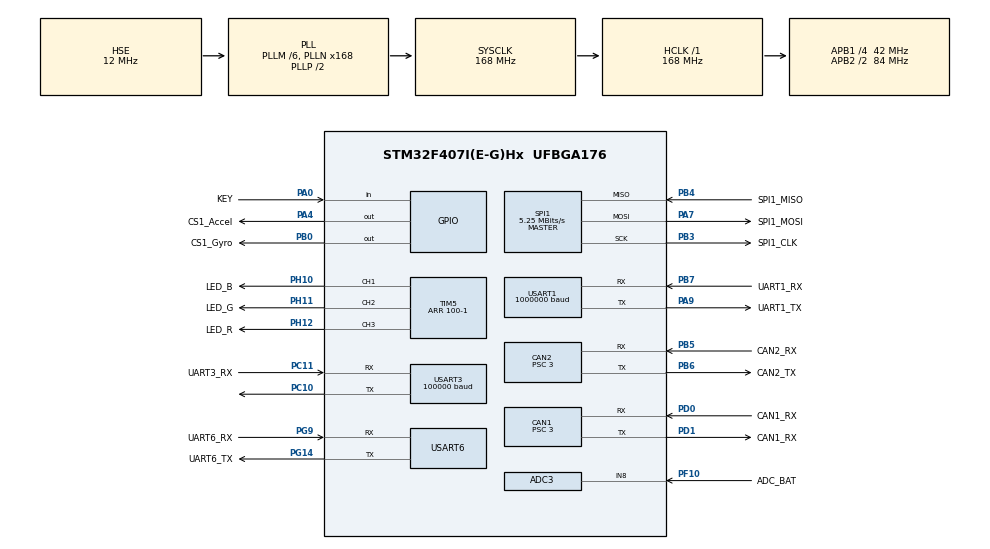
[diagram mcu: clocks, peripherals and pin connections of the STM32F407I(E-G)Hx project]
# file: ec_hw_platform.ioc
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ADC3.Channel-1\#ChannelRegularConversion=ADC_CHANNEL_8
ADC3.ExternalTrigConv=ADC_EXTERNALTRIGCONV_T3_TRGO
ADC3.NbrOfConversionFlag=1
ADC3.Rank-1\#ChannelRegularConversion=1
ADC3.SamplingTime-1\#ChannelRegularConversion=ADC_SAMPLETIME_28CYCLES
CAN1.ABOM=ENABLE
CAN1.BS1=CAN_BS1_10TQ
CAN1.BS2=CAN_BS2_3TQ
CAN1.CalculateBaudRate=1000000
CAN1.CalculateTimeBit=1000
CAN1.CalculateTimeQuantum=71.42857142857143
CAN1.Prescaler=3
CAN2.ABOM=ENABLE
CAN2.BS1=CAN_BS1_10TQ
CAN2.BS2=CAN_BS2_3TQ
CAN2.CalculateBaudRate=1000000
CAN2.CalculateTimeBit=1000
CAN2.CalculateTimeQuantum=71.42857142857143
CAN2.Prescaler=3
Dma.Request0=SPI1_RX
Dma.Request1=SPI1_TX
Dma.Request2=USART1_RX
Dma.Request3=USART1_TX
Dma.Request4=USART6_RX
Dma.Request5=USART6_TX
Dma.SPI1_RX.0.Direction=DMA_PERIPH_TO_MEMORY
Dma.SPI1_RX.0.FIFOMode=DMA_FIFOMODE_DISABLE
Dma.SPI1_RX.0.Instance=DMA2_Stream0
Dma.SPI1_RX.0.MemDataAlignment=DMA_MDATAALIGN_BYTE
Dma.SPI1_RX.0.MemInc=DMA_MINC_ENABLE
Dma.SPI1_RX.0.Mode=DMA_NORMAL
Dma.SPI1_RX.0.PeriphDataAlignment=DMA_PDATAALIGN_BYTE
Dma.SPI1_RX.0.PeriphInc=DMA_PINC_DISABLE
Dma.SPI1_RX.0.Priority=DMA_PRIORITY_LOW
Dma.SPI1_TX.1.Direction=DMA_MEMORY_TO_PERIPH
Dma.SPI1_TX.1.FIFOMode=DMA_FIFOMODE_DISABLE
Dma.SPI1_TX.1.Instance=DMA2_Stream3
Dma.SPI1_TX.1.MemDataAlignment=DMA_MDATAALIGN_BYTE
Dma.SPI1_TX.1.MemInc=DMA_MINC_ENABLE
Dma.SPI1_TX.1.Mode=DMA_NORMAL
Dma.SPI1_TX.1.PeriphDataAlignment=DMA_PDATAALIGN_BYTE
Dma.SPI1_TX.1.PeriphInc=DMA_PINC_DISABLE
Dma.SPI1_TX.1.Priority=DMA_PRIORITY_LOW
Dma.USART1_RX.2.Direction=DMA_PERIPH_TO_MEMORY
Dma.USART1_RX.2.FIFOMode=DMA_FIFOMODE_DISABLE
Dma.USART1_RX.2.Instance=DMA2_Stream2
Dma.USART1_RX.2.MemDataAlignment=DMA_MDATAALIGN_BYTE
Dma.USART1_RX.2.MemInc=DMA_MINC_ENABLE
Dma.USART1_RX.2.Mode=DMA_NORMAL
Dma.USART1_RX.2.PeriphDataAlignment=DMA_PDATAALIGN_BYTE
Dma.USART1_RX.2.PeriphInc=DMA_PINC_DISABLE
Dma.USART1_RX.2.Priority=DMA_PRIORITY_LOW
Dma.USART1_TX.3.Direction=DMA_MEMORY_TO_PERIPH
Dma.USART1_TX.3.FIFOMode=DMA_FIFOMODE_DISABLE
Dma.USART1_TX.3.Instance=DMA2_Stream7
Dma.USART1_TX.3.MemDataAlignment=DMA_MDATAALIGN_BYTE
Dma.USART1_TX.3.MemInc=DMA_MINC_ENABLE
Dma.USART1_TX.3.Mode=DMA_NORMAL
Dma.USART1_TX.3.PeriphDataAlignment=DMA_PDATAALIGN_BYTE
Dma.USART1_TX.3.PeriphInc=DMA_PINC_DISABLE
Dma.USART1_TX.3.Priority=DMA_PRIORITY_LOW
Dma.USART6_RX.4.Direction=DMA_PERIPH_TO_MEMORY
Dma.USART6_RX.4.FIFOMode=DMA_FIFOMODE_DISABLE
Dma.USART6_RX.4.Instance=DMA2_Stream1
Dma.USART6_RX.4.MemDataAlignment=DMA_MDATAALIGN_BYTE
Dma.USART6_RX.4.MemInc=DMA_MINC_ENABLE
Dma.USART6_RX.4.Mode=DMA_NORMAL
Dma.USART6_RX.4.PeriphDataAlignment=DMA_PDATAALIGN_BYTE
Dma.USART6_RX.4.PeriphInc=DMA_PINC_DISABLE
Dma.USART6_RX.4.Priority=DMA_PRIORITY_LOW
Dma.USART6_TX.5.Direction=DMA_MEMORY_TO_PERIPH
Dma.USART6_TX.5.FIFOMode=DMA_FIFOMODE_DISABLE
Dma.USART6_TX.5.Instance=DMA2_Stream6
Dma.USART6_TX.5.MemDataAlignment=DMA_MDATAALIGN_BYTE
Dma.USART6_TX.5.MemInc=DMA_MINC_ENABLE
Dma.USART6_TX.5.Mode=DMA_NORMAL
Dma.USART6_TX.5.PeriphDataAlignment=DMA_PDATAALIGN_BYTE
Dma.USART6_TX.5.PeriphInc=DMA_PINC_DISABLE
Dma.USART6_TX.5.Priority=DMA_PRIORITY_LOW
IWDG.Prescaler=IWDG_PRESCALER_32
IWDG.Reload=1500
Mcu.Family=STM32F4
Mcu.Name=STM32F407I(E-G)Hx
Mcu.Package=UFBGA176
NVIC.ADC_IRQn=true\:0\:0\:false\:false\:true\:true\:true\:true
NVIC.CAN1_RX0_IRQn=true\:0\:0\:false\:false\:true\:true\:true\:true
NVIC.CAN2_RX0_IRQn=true\:0\:0\:false\:false\:true\:true\:true\:true
NVIC.DMA2_Stream0_IRQn=true\:0\:0\:false\:false\:true\:false\:true\:true
NVIC.DMA2_Stream1_IRQn=true\:0\:0\:false\:false\:true\:false\:true\:true
NVIC.DMA2_Stream2_IRQn=true\:0\:0\:false\:false\:true\:false\:true\:true
NVIC.DMA2_Stream3_IRQn=true\:0\:0\:false\:false\:true\:false\:true\:true
NVIC.DMA2_Stream6_IRQn=true\:0\:0\:false\:false\:true\:false\:true\:true
NVIC.DMA2_Stream7_IRQn=true\:0\:0\:false\:false\:true\:false\:true\:true
NVIC.PriorityGroup=NVIC_PRIORITYGROUP_4
NVIC.RCC_IRQn=true\:0\:0\:false\:false\:true\:true\:false\:true
NVIC.SPI1_IRQn=true\:0\:0\:false\:false\:true\:true\:true\:true
NVIC.TIM6_DAC_IRQn=true\:0\:0\:false\:false\:true\:true\:true\:true
NVIC.TIM7_IRQn=true\:0\:0\:false\:false\:true\:true\:true\:true
NVIC.USART1_IRQn=true\:0\:0\:false\:false\:true\:true\:true\:true
NVIC.USART3_IRQn=true\:0\:0\:false\:false\:true\:true\:true\:true
NVIC.USART6_IRQn=true\:0\:0\:false\:false\:true\:true\:true\:true
PA0-WKUP.GPIO_Label=KEY
PA0-WKUP.GPIO_PuPd=GPIO_PULLUP
PA0-WKUP.Signal=GPIO_Input
PA13.Mode=Serial_Wire
PA13.Signal=SYS_JTMS-SWDIO
PA14.Mode=Serial_Wire
PA14.Signal=SYS_JTCK-SWCLK
PA4.GPIO_Label=CS1_Accel
PA4.GPIO_PuPd=GPIO_PULLUP
PA4.Signal=GPIO_Output
PA7.GPIO_Label=SPI1_MOSI
PA7.GPIO_PuPd=GPIO_PULLUP
PA7.Mode=Full_Duplex_Master
PA7.Signal=SPI1_MOSI
PA9.GPIO_Label=UART1_TX
PA9.GPIO_PuPd=GPIO_PULLDOWN
PA9.Mode=Asynchronous
PA9.Signal=USART1_TX
PB0.GPIO_Label=CS1_Gyro
PB0.GPIO_PuPd=GPIO_PULLUP
PB0.Signal=GPIO_Output
PB3.GPIO_Label=SPI1_CLK
PB3.GPIO_PuPd=GPIO_PULLUP
PB3.Mode=Full_Duplex_Master
PB3.Signal=SPI1_SCK
PB4.GPIO_Label=SPI1_MISO
PB4.GPIO_PuPd=GPIO_PULLUP
PB4.Mode=Full_Duplex_Master
PB4.Signal=SPI1_MISO
PB5.GPIO_Label=CAN2_RX
PB5.GPIO_PuPd=GPIO_PULLDOWN
PB5.Mode=CAN_Activate
PB5.Signal=CAN2_RX
PB6.GPIO_Label=CAN2_TX
PB6.GPIO_PuPd=GPIO_PULLDOWN
PB6.Mode=CAN_Activate
PB6.Signal=CAN2_TX
PB7.GPIO_Label=UART1_RX
PB7.GPIO_PuPd=GPIO_PULLDOWN
PB7.Mode=Asynchronous
PB7.Signal=USART1_RX
PC10.Mode=Asynchronous
PC10.Signal=USART3_TX
PC11.GPIO_Label=UART3_RX
PC11.GPIO_PuPd=GPIO_PULLDOWN
PC11.Mode=Asynchronous
PC11.Signal=USART3_RX
PC14-OSC32_IN.Mode=LSE-External-Oscillator
PC14-OSC32_IN.Signal=RCC_OSC32_IN
PC15-OSC32_OUT.Mode=LSE-External-Oscillator
PC15-OSC32_OUT.Signal=RCC_OSC32_OUT
PC6.GPIO_Label=TIM8_CH1
PC6.GPIO_PuPd=GPIO_PULLDOWN
PC6.Signal=S_TIM8_CH1
PC8.GPIO_Label=TIM3_CH3
PC8.GPIO_PuPd=GPIO_PULLDOWN
PC8.Signal=S_TIM3_CH3
PD0.GPIO_Label=CAN1_RX
PD0.GPIO_PuPd=GPIO_PULLDOWN
PD0.Mode=CAN_Activate
PD0.Signal=CAN1_RX
PD1.GPIO_Label=CAN1_RX
PD1.GPIO_PuPd=GPIO_PULLDOWN
PD1.Mode=CAN_Activate
PD1.Signal=CAN1_TX
PD14.GPIO_Label=TIM4_CH3
PD14.GPIO_PuPd=GPIO_PULLDOWN
PD14.Signal=S_TIM4_CH3
PE11.GPIO_Label=TIM1_CH2
PE11.GPIO_PuPd=GPIO_PULLDOWN
PE11.Signal=S_TIM1_CH2
PE13.GPIO_Label=TIM1_CH3
PE13.GPIO_PuPd=GPIO_PULLDOWN
PE13.Signal=S_TIM1_CH3
PE14.GPIO_Label=TIM1_CH4
PE14.GPIO_PuPd=GPIO_PULLDOWN
PE14.Signal=S_TIM1_CH4
PE9.GPIO_Label=TIM1_CH1
PE9.GPIO_PuPd=GPIO_PULLDOWN
PE9.Signal=S_TIM1_CH1
PF10.GPIO_Label=ADC_BAT
PF10.GPIO_PuPd=GPIO_NOPULL
PF10.Mode=IN8
PF10.Signal=ADC3_IN8
PG14.GPIO_Label=UART6_TX
PG14.GPIO_PuPd=GPIO_PULLDOWN
PG14.Mode=Asynchronous
PG14.Signal=USART6_TX
PG9.GPIO_Label=UART6_RX
PG9.GPIO_PuPd=GPIO_PULLDOWN
PG9.Mode=Asynchronous
PG9.Signal=USART6_RX
PH0-OSC_IN.Mode=HSE-External-Oscillator
PH0-OSC_IN.Signal=RCC_OSC_IN
PH1-OSC_OUT.Mode=HSE-External-Oscillator
PH1-OSC_OUT.Signal=RCC_OSC_OUT
PH10.GPIO_Label=LED_B
PH10.GPIO_PuPd=GPIO_PULLUP
PH10.Signal=S_TIM5_CH1
PH11.GPIO_Label=LED_G
PH11.GPIO_PuPd=GPIO_PULLUP
PH11.Signal=S_TIM5_CH2
PH12.GPIO_Label=LED_R
PH12.GPIO_PuPd=GPIO_PULLUP
PH12.Signal=S_TIM5_CH3
PI6.GPIO_Label=TIM8_CH2
PI6.GPIO_PuPd=GPIO_PULLDOWN
PI6.Signal=S_TIM8_CH2
PI7.GPIO_Label=TIM8_CH3
PI7.GPIO_PuPd=GPIO_PULLDOWN
PI7.Signal=S_TIM8_CH3
ProjectManager.HeapSize=0x1000
ProjectManager.StackSize=0x2000
ProjectManager.TargetToolchain=STM32CubeIDE
RCC.48MHZClocksFreq_Value=48000000
RCC.AHBFreq_Value=168000000
RCC.APB1CLKDivider=RCC_HCLK_DIV4
RCC.APB1Freq_Value=42000000
RCC.APB1TimFreq_Value=84000000
RCC.APB2CLKDivider=RCC_HCLK_DIV2
RCC.APB2Freq_Value=84000000
RCC.APB2TimFreq_Value=168000000
RCC.CortexFreq_Value=168000000
RCC.HCLKFreq_Value=168000000
RCC.HSE_VALUE=12000000
RCC.HSI_VALUE=16000000
RCC.PLLM=6
RCC.PLLN=168
RCC.PLLQ=7
RCC.PLLSourceVirtual=RCC_PLLSOURCE_HSE
RCC.SYSCLKFreq_VALUE=168000000
RCC.SYSCLKSource=RCC_SYSCLKSOURCE_PLLCLK
RCC.VCOOutputFreq_Value=336000000
SH.S_TIM1_CH1.0=TIM1_CH1
SH.S_TIM1_CH2.0=TIM1_CH2
SH.S_TIM1_CH3.0=TIM1_CH3
SH.S_TIM1_CH4.0=TIM1_CH4
SH.S_TIM3_CH3.0=TIM3_CH3
SH.S_TIM4_CH3.0=TIM4_CH3
SH.S_TIM5_CH1.0=TIM5_CH1,PWM Generation1 CH1
SH.S_TIM5_CH2.0=TIM5_CH2,PWM Generation2 CH2
SH.S_TIM5_CH3.0=TIM5_CH3,PWM Generation3 CH3
SH.S_TIM8_CH1.0=TIM8_CH1
SH.S_TIM8_CH2.0=TIM8_CH2
SH.S_TIM8_CH3.0=TIM8_CH3
SPI1.BaudRatePrescaler=SPI_BAUDRATEPRESCALER_16
SPI1.CLKPhase=SPI_PHASE_2EDGE
SPI1.CLKPolarity=SPI_POLARITY_HIGH
SPI1.CalculateBaudRate=5.25 MBits/s
SPI1.Direction=SPI_DIRECTION_2LINES
SPI1.Mode=SPI_MODE_MASTER
SPI1.VirtualType=VM_MASTER
TIM3.TIM_MasterOutputTrigger=TIM_TRGO_UPDATE
TIM4.AutoReloadPreload=TIM_AUTORELOAD_PRELOAD_ENABLE
TIM4.Period=200-1
TIM4.Prescaler=84-1
TIM5.AutoReloadPreload=TIM_AUTORELOAD_PRELOAD_ENABLE
TIM5.Channel-PWM\ Generation1\ CH1=TIM_CHANNEL_1
TIM5.Channel-PWM\ Generation2\ CH2=TIM_CHANNEL_2
TIM5.Channel-PWM\ Generation3\ CH3=TIM_CHANNEL_3
TIM5.Period=100-1
TIM6.Period=1000-1
TIM6.Prescaler=84-1
TIM7.AutoReloadPreload=TIM_AUTORELOAD_PRELOAD_DISABLE
TIM7.Period=1000-1
TIM7.Prescaler=84-1
USART1.BaudRate=1000000
USART1.VirtualMode=VM_ASYNC
USART3.BaudRate=100000
USART3.Parity=PARITY_EVEN
USART3.VirtualMode=VM_ASYNC
USART6.VirtualMode=VM_ASYNC
VP_IWDG_VS_IWDG.Mode=IWDG_Activate
VP_TIM3_VS_ClockSourceINT.Mode=Internal
VP_TIM4_VS_ClockSourceINT.Mode=Internal
VP_TIM5_VS_ClockSourceINT.Mode=Internal
VP_TIM6_VS_ClockSourceINT.Mode=Enable_Timer
VP_TIM7_VS_ClockSourceINT.Mode=Enable_Timer
board=custom

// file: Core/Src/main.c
/* USER CODE BEGIN Header */
/**
  ******************************************************************************
  * @file           : main.c
  * @brief          : Main program body
  ******************************************************************************
  * @attention
  *
  * Copyright (c) 2023 STMicroelectronics.
  * All rights reserved.
  *
  * This software is licensed under terms that can be found in the LICENSE file
  * in the root directory of this software component.
  * If no LICENSE file comes with this software, it is provided AS-IS.
  *
  ******************************************************************************
  */
/* USER CODE END Header */
#include "main.h"
#include "adc.h"
#include "can.h"
#include "dma.h"
#include "iwdg.h"
#include "spi.h"
#include "tim.h"
#include "usart.h"
#include "gpio.h"

/* USER CODE BEGIN PV */
uint8_t rx_buffer_[18];

/* USER CODE END PV */

void SystemClock_Config(void);

/* USER CODE BEGIN 0 */

// CAN1 send data
uint8_t CAN_Send_Data(CAN_HandleTypeDef *hcan, uint16_t ID, uint8_t *Data, uint16_t Length) {
    CAN_TxHeaderTypeDef  tx_header;
    uint32_t used_mailbox;

    assert_param(hcan != NULL);

    tx_header.StdId = ID;
    tx_header.ExtId = 0;
    tx_header.IDE = 0;
    tx_header.RTR = 0;
    tx_header.DLC = Length;

    return (HAL_CAN_AddTxMessage(hcan, &tx_header, Data, &used_mailbox));
}

// CAN filter initialize
void canFilterInit(void) {
    CAN_FilterTypeDef filter;
    filter.FilterActivation = ENABLE;
    filter.FilterMode = CAN_FILTERMODE_IDMASK;
    filter.FilterScale = CAN_FILTERSCALE_32BIT;
    filter.FilterIdHigh = 0x0000;
    filter.FilterIdLow = 0x0000;
    filter.FilterMaskIdHigh = 0x0000;
    filter.FilterMaskIdLow = 0x0000;
    filter.FilterFIFOAssignment = CAN_RX_FIFO0;
    filter.SlaveStartFilterBank = 14;

    filter.FilterBank = 0;
    HAL_CAN_ConfigFilter(&hcan1, &filter);
    HAL_CAN_Start(&hcan1);
    HAL_CAN_ActivateNotification(&hcan1, CAN_IT_RX_FIFO0_MSG_PENDING);
}

/* USER CODE END 0 */

int main(void)
{

  /* MCU Configuration--------------------------------------------------------*/

  /* Reset of all peripherals, Initializes the Flash interface and the Systick. */
  HAL_Init();

  /* Configure the system clock */
  SystemClock_Config();

  /* Initialize all configured peripherals */
  MX_GPIO_Init();
  MX_DMA_Init();
  MX_ADC3_Init();
  MX_CAN1_Init();
  MX_CAN2_Init();
  MX_IWDG_Init();
  MX_SPI1_Init();
  MX_TIM3_Init();
  MX_TIM4_Init();
  MX_TIM5_Init();
  MX_TIM6_Init();
  MX_TIM7_Init();
  MX_USART1_UART_Init();
  MX_USART6_UART_Init();
  MX_USART3_UART_Init();
  /* USER CODE BEGIN 2 */

  HAL_UART_Receive_IT(&huart3, rx_buffer_, 18);
  HAL_TIM_Base_Start_IT(&htim5);
  HAL_TIM_Base_Start_IT(&htim6);
  HAL_TIM_PWM_Start_IT(&htim5, TIM_CHANNEL_1);
  HAL_TIM_PWM_Start_IT(&htim5, TIM_CHANNEL_2);
  HAL_TIM_PWM_Start_IT(&htim5, TIM_CHANNEL_3);
  canFilterInit();

  /* USER CODE END 2 */

  /* Infinite loop */
  while (1)
  {

  }
}

void SystemClock_Config(void)
{
  RCC_OscInitTypeDef RCC_OscInitStruct = {0};
  RCC_ClkInitTypeDef RCC_ClkInitStruct = {0};

  /** Configure the main internal regulator output voltage
  */
  __HAL_RCC_PWR_CLK_ENABLE();
  __HAL_PWR_VOLTAGESCALING_CONFIG(PWR_REGULATOR_VOLTAGE_SCALE1);

  /** Initializes the RCC Oscillators according to the specified parameters
  * in the RCC_OscInitTypeDef structure.
  */
  RCC_OscInitStruct.OscillatorType = RCC_OSCILLATORTYPE_LSI|RCC_OSCILLATORTYPE_HSE;
  RCC_OscInitStruct.HSEState = RCC_HSE_ON;
  RCC_OscInitStruct.LSIState = RCC_LSI_ON;
  RCC_OscInitStruct.PLL.PLLState = RCC_PLL_ON;
  RCC_OscInitStruct.PLL.PLLSource = RCC_PLLSOURCE_HSE;
  RCC_OscInitStruct.PLL.PLLM = 6;
  RCC_OscInitStruct.PLL.PLLN = 168;
  RCC_OscInitStruct.PLL.PLLP = RCC_PLLP_DIV2;
  RCC_OscInitStruct.PLL.PLLQ = 7;
  if (HAL_RCC_OscConfig(&RCC_OscInitStruct) != HAL_OK)
  {
    Error_Handler();
  }

  /** Initializes the CPU, AHB and APB buses clocks
  */
  RCC_ClkInitStruct.ClockType = RCC_CLOCKTYPE_HCLK|RCC_CLOCKTYPE_SYSCLK
                              |RCC_CLOCKTYPE_PCLK1|RCC_CLOCKTYPE_PCLK2;
  RCC_ClkInitStruct.SYSCLKSource = RCC_SYSCLKSOURCE_PLLCLK;
  RCC_ClkInitStruct.AHBCLKDivider = RCC_SYSCLK_DIV1;
  RCC_ClkInitStruct.APB1CLKDivider = RCC_HCLK_DIV4;
  RCC_ClkInitStruct.APB2CLKDivider = RCC_HCLK_DIV2;

  if (HAL_RCC_ClockConfig(&RCC_ClkInitStruct, FLASH_LATENCY_5) != HAL_OK)
  {
    Error_Handler();
  }
}

void Error_Handler(void)
{
  __disable_irq();
  while (1)
  {
  }
}
